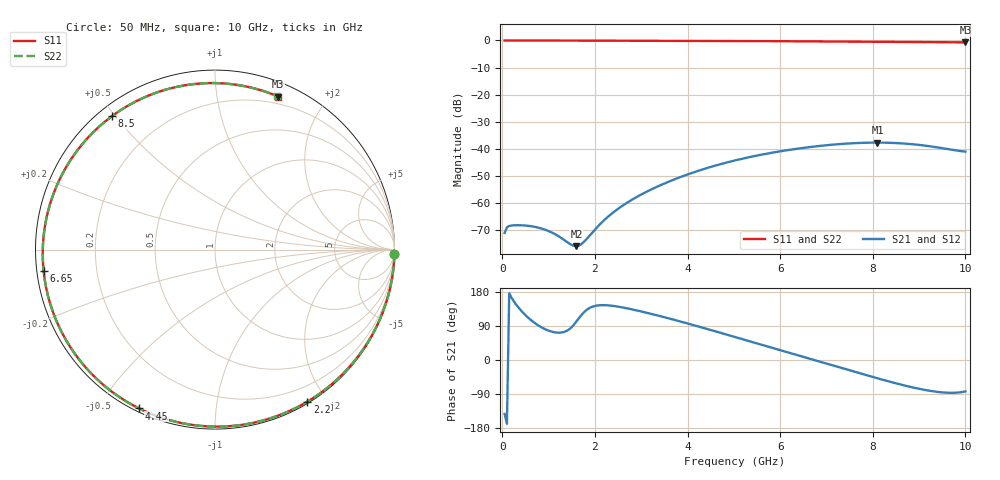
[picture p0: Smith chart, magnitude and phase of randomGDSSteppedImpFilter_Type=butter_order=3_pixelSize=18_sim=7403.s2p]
! freq	dB(S11)	phase(S11)	dB(S12)	phase(S12)
!  dB(S21)	phase(S21)	dB(S22)	phase(S22)
!S-par simulation data
#  GHz  S  DB  R 50
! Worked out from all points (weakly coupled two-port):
!   200 points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, 50 MHz to 10 GHz, reference 50 ohm
!   highest |S21| = -37.70 dB at 8.1 GHz (marker M1); lowest = -75.9 dB at 1.6 GHz (marker M2)
!   lowest |S11| = -0.7 dB at 10 GHz (marker M3), VSWR 24.85, Z = 6.49 + j74.4 ohm
!   |S11| at or under -10 dB: nowhere
!   |S22| runs from -0.7 to 0.0 dB; largest |S21 - S12| = 0
!   S11 on the Smith chart (normalised r, x): 50 MHz: 0, -84; 2.2 GHz: 0.02, -1.78; 4.45 GHz: 0.01, -0.63; 6.65 GHz: 0.02, -0.06; 8.5 GHz: 0.04, +0.49; 10 GHz: 0.13, +1.49
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0.05  -0.00 -1.4  -71.05 -142.5  -71.05 -142.5  -0.00 -1.4
0.1  -0.00 -2.7  -69.01 -168.3  -69.01 -168.3  -0.00 -2.7
0.2  -0.00 -5.5  -68.31 164.5  -68.31 164.5  -0.00 -5.5
0.7  -0.02 -19.1  -68.81 97.7  -68.81 97.7  -0.02 -19.0
1.05  -0.03 -28.5  -70.72 75.4  -70.72 75.4  -0.03 -28.5
1.6  -0.05 -43.1  -75.94 101.5  -75.94 101.5  -0.05 -43.1
1.75  -0.06 -47.0  -74.55 124.4  -74.55 124.4  -0.06 -47.0
2.2  -0.08 -58.8  -66.32 144.8  -66.32 144.8  -0.08 -58.8
2.7  -0.09 -71.6  -59.84 136.3  -59.84 136.3  -0.09 -71.6
3.4  -0.12 -89.3  -53.54 116.1  -53.54 116.1  -0.12 -89.3
4.45  -0.17 -115.5  -46.95 81.0  -46.95 81.0  -0.17 -115.5
5.05  -0.20 -130.6  -44.18 59.8  -44.18 59.8  -0.20 -130.6
5.9  -0.27 -152.5  -41.21 29.5  -41.21 29.5  -0.27 -152.5
6.65  -0.33 -173.0  -39.34 3.0  -39.34 3.0  -0.33 -173.0
6.7  -0.34 -174.5  -39.23 1.2  -39.23 1.2  -0.34 -174.4
7.4  -0.41 164.7  -38.11 -23.6  -38.11 -23.6  -0.41 164.8
8.1  -0.50 141.8  -37.70 -48.2  -37.70 -48.2  -0.50 142.0
8.35  -0.53 133.0  -37.77 -56.6  -37.77 -56.6  -0.53 133.2
8.5  -0.54 127.6  -37.87 -61.5  -37.87 -61.5  -0.54 127.8
9.3  -0.63 96.7  -39.22 -82.6  -39.22 -82.6  -0.63 97.0
9.65  -0.67 82.3  -40.20 -86.5  -40.20 -86.5  -0.67 82.6
10  -0.70 67.5  -41.01 -83.1  -41.01 -83.1  -0.70 67.9
